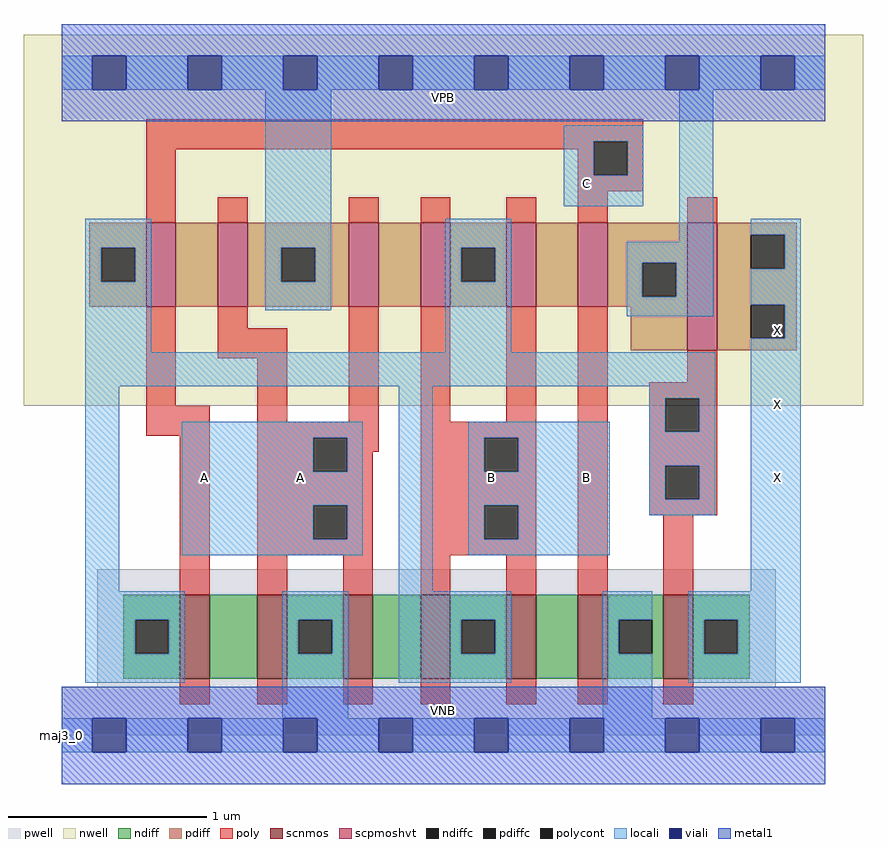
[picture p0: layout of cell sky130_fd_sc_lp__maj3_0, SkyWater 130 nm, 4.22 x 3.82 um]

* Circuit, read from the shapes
.subckt sky130_fd_sc_lp__maj3_0 A B C VGND VNB VPB VPWR X
XM1 n1 C n2 VNB sky130_fd_pr__nfet_01v8 w=0.42 l=0.15
XM2 VGND A n1 VNB sky130_fd_pr__nfet_01v8 w=0.42 l=0.15
XM3 n3 A VGND VNB sky130_fd_pr__nfet_01v8 w=0.42 l=0.15
XM4 n2 B n3 VNB sky130_fd_pr__nfet_01v8 w=0.42 l=0.15
XM5 n4 B n2 VNB sky130_fd_pr__nfet_01v8 w=0.42 l=0.15
XM6 VGND C n4 VNB sky130_fd_pr__nfet_01v8 w=0.42 l=0.15
XM7 X n2 VGND VNB sky130_fd_pr__nfet_01v8 w=0.42 l=0.15
XM8 n5 C n2 VPB sky130_fd_pr__pfet_01v8_hvt w=0.42 l=0.15
XM9 VPWR A n5 VPB sky130_fd_pr__pfet_01v8_hvt w=0.42 l=0.15
XM10 n6 A VPWR VPB sky130_fd_pr__pfet_01v8_hvt w=0.42 l=0.15
XM11 n2 B n6 VPB sky130_fd_pr__pfet_01v8_hvt w=0.42 l=0.15
XM12 n7 B n2 VPB sky130_fd_pr__pfet_01v8_hvt w=0.42 l=0.15
XM13 VPWR C n7 VPB sky130_fd_pr__pfet_01v8_hvt w=0.42 l=0.15
XM14 X n2 VPWR VPB sky130_fd_pr__pfet_01v8_hvt w=0.64 l=0.15
.ends

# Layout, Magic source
magic
tech sky130A
magscale 1 2
<< nwell >>
rect -38 331 806 704
<< pwell >>
rect 36 49 718 167
rect 0 0 768 49
<< scnmos >>
rect 119 57 149 141
rect 197 57 227 141
rect 283 57 313 141
rect 361 57 391 141
rect 447 57 477 141
rect 519 57 549 141
rect 605 57 635 141
<< scpmoshvt >>
rect 85 431 115 515
rect 157 431 187 515
rect 289 431 319 515
rect 361 431 391 515
rect 447 431 477 515
rect 519 431 549 515
rect 629 387 659 515
<< ndiff >>
rect 62 116 119 141
rect 62 82 74 116
rect 108 82 119 116
rect 62 57 119 82
rect 149 57 197 141
rect 227 116 283 141
rect 227 82 238 116
rect 272 82 283 116
rect 227 57 283 82
rect 313 57 361 141
rect 391 116 447 141
rect 391 82 402 116
rect 436 82 447 116
rect 391 57 447 82
rect 477 57 519 141
rect 549 116 605 141
rect 549 82 560 116
rect 594 82 605 116
rect 549 57 605 82
rect 635 116 692 141
rect 635 82 646 116
rect 680 82 692 116
rect 635 57 692 82
<< pdiff >>
rect 28 490 85 515
rect 28 456 40 490
rect 74 456 85 490
rect 28 431 85 456
rect 115 431 157 515
rect 187 490 289 515
rect 187 456 221 490
rect 255 456 289 490
rect 187 431 289 456
rect 319 431 361 515
rect 391 490 447 515
rect 391 456 402 490
rect 436 456 447 490
rect 391 431 447 456
rect 477 431 519 515
rect 549 475 629 515
rect 549 441 584 475
rect 618 441 629 475
rect 549 431 629 441
rect 572 387 629 431
rect 659 503 739 515
rect 659 469 693 503
rect 727 469 739 503
rect 659 433 739 469
rect 659 399 693 433
rect 727 399 739 433
rect 659 387 739 399
<< ndiffc >>
rect 74 82 108 116
rect 238 82 272 116
rect 402 82 436 116
rect 560 82 594 116
rect 646 82 680 116
<< pdiffc >>
rect 40 456 74 490
rect 221 456 255 490
rect 402 456 436 490
rect 584 441 618 475
rect 693 469 727 503
rect 693 399 727 433
<< poly >>
rect 85 597 585 619
rect 85 589 535 597
rect 85 515 115 589
rect 519 563 535 589
rect 569 563 585 597
rect 519 547 585 563
rect 157 515 187 541
rect 289 515 319 541
rect 361 515 391 541
rect 447 515 477 541
rect 519 515 549 547
rect 629 515 659 541
rect 85 331 115 431
rect 157 409 187 431
rect 157 379 227 409
rect 85 301 149 331
rect 119 141 149 301
rect 197 315 227 379
rect 289 315 319 431
rect 197 299 319 315
rect 197 265 253 299
rect 287 285 319 299
rect 361 315 391 431
rect 447 315 477 431
rect 361 299 477 315
rect 287 265 313 285
rect 197 231 313 265
rect 197 197 253 231
rect 287 197 313 231
rect 197 181 313 197
rect 197 141 227 181
rect 283 141 313 181
rect 361 265 425 299
rect 459 265 477 299
rect 361 231 477 265
rect 361 197 425 231
rect 459 197 477 231
rect 361 181 477 197
rect 361 141 391 181
rect 447 141 477 181
rect 519 141 549 431
rect 629 355 659 387
rect 591 339 659 355
rect 591 305 607 339
rect 641 305 659 339
rect 591 271 659 305
rect 591 237 607 271
rect 641 237 659 271
rect 591 221 659 237
rect 605 141 635 221
rect 119 31 149 57
rect 197 31 227 57
rect 283 31 313 57
rect 361 31 391 57
rect 447 31 477 57
rect 519 31 549 57
rect 605 31 635 57
<< polycont >>
rect 535 563 569 597
rect 253 265 287 299
rect 253 197 287 231
rect 425 265 459 299
rect 425 197 459 231
rect 607 305 641 339
rect 607 237 641 271
<< locali >>
rect 0 649 31 683
rect 65 649 127 683
rect 161 649 223 683
rect 257 649 319 683
rect 353 649 415 683
rect 449 649 511 683
rect 545 649 607 683
rect 641 649 703 683
rect 737 649 768 683
rect 24 490 90 519
rect 24 456 40 490
rect 74 456 90 490
rect 24 385 90 456
rect 205 490 271 649
rect 505 597 585 613
rect 505 563 535 597
rect 569 563 585 597
rect 505 532 585 563
rect 205 456 221 490
rect 255 456 271 490
rect 205 427 271 456
rect 386 490 452 519
rect 621 496 655 649
rect 386 456 402 490
rect 436 456 452 490
rect 386 385 452 456
rect 568 475 655 496
rect 568 441 584 475
rect 618 441 655 475
rect 568 421 655 441
rect 693 503 743 519
rect 727 469 743 503
rect 693 433 743 469
rect 727 399 743 433
rect 24 351 657 385
rect 24 145 58 351
rect 121 299 303 315
rect 121 265 253 299
rect 287 265 303 299
rect 121 231 303 265
rect 121 197 253 231
rect 287 197 303 231
rect 121 181 303 197
rect 339 145 373 351
rect 591 339 657 351
rect 409 299 551 315
rect 409 265 425 299
rect 459 265 551 299
rect 409 231 551 265
rect 409 197 425 231
rect 459 197 551 231
rect 591 305 607 339
rect 641 305 657 339
rect 591 271 657 305
rect 591 237 607 271
rect 641 237 657 271
rect 591 221 657 237
rect 409 181 551 197
rect 693 145 743 399
rect 24 116 124 145
rect 24 82 74 116
rect 108 82 124 116
rect 24 53 124 82
rect 222 116 288 145
rect 222 82 238 116
rect 272 82 288 116
rect 222 17 288 82
rect 339 116 452 145
rect 339 82 402 116
rect 436 82 452 116
rect 339 53 452 82
rect 544 116 594 145
rect 544 82 560 116
rect 544 17 594 82
rect 630 116 743 145
rect 630 82 646 116
rect 680 82 743 116
rect 630 53 743 82
rect 0 -17 31 17
rect 65 -17 127 17
rect 161 -17 223 17
rect 257 -17 319 17
rect 353 -17 415 17
rect 449 -17 511 17
rect 545 -17 607 17
rect 641 -17 703 17
rect 737 -17 768 17
<< viali >>
rect 31 649 65 683
rect 127 649 161 683
rect 223 649 257 683
rect 319 649 353 683
rect 415 649 449 683
rect 511 649 545 683
rect 607 649 641 683
rect 703 649 737 683
rect 31 -17 65 17
rect 127 -17 161 17
rect 223 -17 257 17
rect 319 -17 353 17
rect 415 -17 449 17
rect 511 -17 545 17
rect 607 -17 641 17
rect 703 -17 737 17
<< metal1 >>
rect 0 683 768 715
rect 0 649 31 683
rect 65 649 127 683
rect 161 649 223 683
rect 257 649 319 683
rect 353 649 415 683
rect 449 649 511 683
rect 545 649 607 683
rect 641 649 703 683
rect 737 649 768 683
rect 0 617 768 649
rect 0 17 768 49
rect 0 -17 31 17
rect 65 -17 127 17
rect 161 -17 223 17
rect 257 -17 319 17
rect 353 -17 415 17
rect 449 -17 511 17
rect 545 -17 607 17
rect 641 -17 703 17
rect 737 -17 768 17
rect 0 -49 768 -17
<< labels >>
flabel pwell s 0 0 768 49 0 FreeSans 200 0 0 0 VNB
port 5 nsew ground bidirectional
flabel nwell s 0 617 768 666 0 FreeSans 200 0 0 0 VPB
port 6 nsew power bidirectional
rlabel comment s 0 0 0 0 4 maj3_0
flabel metal1 s 0 617 768 666 0 FreeSans 340 0 0 0 VPWR
port 7 nsew power bidirectional
flabel metal1 s 0 0 768 49 0 FreeSans 340 0 0 0 VGND
port 4 nsew ground bidirectional
flabel locali s 127 242 161 276 0 FreeSans 340 0 0 0 A
port 1 nsew signal input
flabel locali s 223 242 257 276 0 FreeSans 340 0 0 0 A
port 1 nsew signal input
flabel locali s 415 242 449 276 0 FreeSans 340 0 0 0 B
port 2 nsew signal input
flabel locali s 511 242 545 276 0 FreeSans 340 0 0 0 B
port 2 nsew signal input
flabel locali s 511 538 545 572 0 FreeSans 340 0 0 0 C
port 3 nsew signal input
flabel locali s 703 242 737 276 0 FreeSans 340 0 0 0 X
port 8 nsew signal output
flabel locali s 703 316 737 350 0 FreeSans 340 0 0 0 X
port 8 nsew signal output
flabel locali s 703 390 737 424 0 FreeSans 340 0 0 0 X
port 8 nsew signal output
<< properties >>
string LEFsite unit
string LEFclass CORE
string FIXED_BBOX 0 0 768 666
string GDS_FILE $PDKPATH/libs.ref/sky130_fd_sc_lp/gds/sky130_fd_sc_lp.gds
string LEFsymmetry X Y R90
string GDS_END 6737606
string GDS_START 6731530
<< end >>
